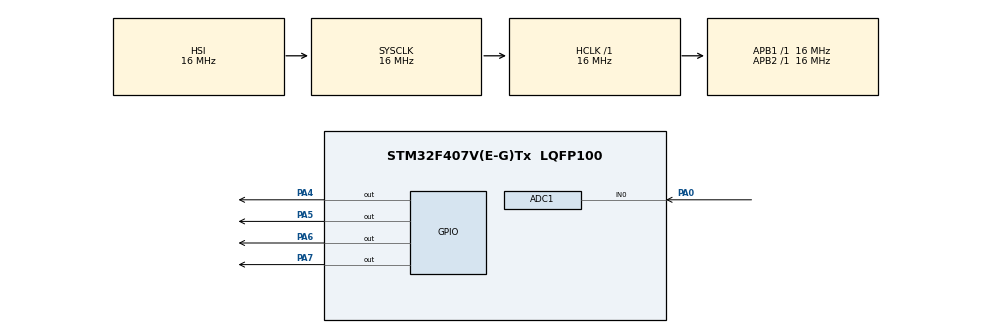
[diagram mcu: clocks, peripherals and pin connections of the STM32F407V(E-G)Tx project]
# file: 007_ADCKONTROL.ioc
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ADC1.Channel-0\#ChannelRegularConversion=ADC_CHANNEL_0
ADC1.ClockPrescaler=ADC_CLOCK_SYNC_PCLK_DIV4
ADC1.NbrOfConversionFlag=1
ADC1.Rank-0\#ChannelRegularConversion=1
ADC1.Resolution=ADC_RESOLUTION_8B
ADC1.SamplingTime-0\#ChannelRegularConversion=ADC_SAMPLETIME_3CYCLES
ADC1.master=1
Mcu.Family=STM32F4
Mcu.Name=STM32F407V(E-G)Tx
Mcu.Package=LQFP100
NVIC.PriorityGroup=NVIC_PRIORITYGROUP_4
PA0-WKUP.Signal=ADCx_IN0
PA4.Signal=GPIO_Output
PA5.Signal=GPIO_Output
PA6.Signal=GPIO_Output
PA7.Signal=GPIO_Output
PH0-OSC_IN.Mode=HSE-External-Oscillator
PH0-OSC_IN.Signal=RCC_OSC_IN
PH1-OSC_OUT.Mode=HSE-External-Oscillator
PH1-OSC_OUT.Signal=RCC_OSC_OUT
ProjectManager.HeapSize=0x200
ProjectManager.StackSize=0x400
ProjectManager.TargetToolchain=STM32CubeIDE
RCC.AHBFreq_Value=16000000
RCC.APB1Freq_Value=16000000
RCC.APB2Freq_Value=16000000
RCC.CortexFreq_Value=16000000
RCC.HSE_VALUE=25000000
RCC.HSI_VALUE=16000000
RCC.LSE_VALUE=32768
RCC.SYSCLKFreq_VALUE=16000000
RCC.VCOOutputFreq_Value=192000000
SH.ADCx_IN0.0=ADC1_IN0,IN0
board=custom

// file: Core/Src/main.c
/* USER CODE BEGIN Header */
/**
  ******************************************************************************
  * @file           : main.c
  * @brief          : Main program body
  ******************************************************************************
  * @attention
  *
  * <h2><center>&copy; Copyright (c) 2020 STMicroelectronics.
  * All rights reserved.</center></h2>
  *
  * This software component is licensed by ST under BSD 3-Clause license,
  * the "License"; You may not use this file except in compliance with the
  * License. You may obtain a copy of the License at:
  *                        opensource.org/licenses/BSD-3-Clause
  *
  ******************************************************************************
  */
/* USER CODE END Header */
#include "main.h"

/* USER CODE BEGIN Includes */
uint16_t adc_value=0;
/* USER CODE END Includes */

ADC_HandleTypeDef hadc1;

void SystemClock_Config(void);
static void MX_GPIO_Init(void);
static void MX_ADC1_Init(void);

/* USER CODE BEGIN 0 */
uint8_t Read_ADC()
{
	HAL_ADC_Start(&hadc1);

		if(HAL_ADC_PollForConversion(&hadc1, 100000) == HAL_OK)
		{
			adc_value = HAL_ADC_GetValue(&hadc1);
		}
	HAL_ADC_Stop(&hadc1);
	return adc_value;
}
/* USER CODE END 0 */

int main(void)
{

  /* MCU Configuration--------------------------------------------------------*/

  /* Reset of all peripherals, Initializes the Flash interface and the Systick. */
  HAL_Init();

  /* Configure the system clock */
  SystemClock_Config();

  /* Initialize all configured peripherals */
  MX_GPIO_Init();
  MX_ADC1_Init();

  /* Infinite loop */
  while (1)
  {

    /* USER CODE BEGIN 3 */
	  adc_value = Read_ADC();

	  if(adc_value<50){
		  HAL_GPIO_WritePin(GPIOA, GPIO_PIN_4, GPIO_PIN_SET);
		  HAL_GPIO_WritePin(GPIOA, GPIO_PIN_5, GPIO_PIN_RESET);
		  HAL_GPIO_WritePin(GPIOA, GPIO_PIN_6, GPIO_PIN_RESET);
		  HAL_GPIO_WritePin(GPIOA, GPIO_PIN_7, GPIO_PIN_RESET);
	  }
	  else if(adc_value>= 50 && adc_value<100)
	  {
		  HAL_GPIO_WritePin(GPIOA, GPIO_PIN_5, GPIO_PIN_SET);
		  HAL_GPIO_WritePin(GPIOA, GPIO_PIN_4, GPIO_PIN_RESET);
		  HAL_GPIO_WritePin(GPIOA, GPIO_PIN_6, GPIO_PIN_RESET);
		  HAL_GPIO_WritePin(GPIOA, GPIO_PIN_7, GPIO_PIN_RESET);
	  }
	  else if(adc_value>= 50 && adc_value<150)
	  {
		  HAL_GPIO_WritePin(GPIOA, GPIO_PIN_6, GPIO_PIN_SET);
		  HAL_GPIO_WritePin(GPIOA, GPIO_PIN_4, GPIO_PIN_RESET);
		  HAL_GPIO_WritePin(GPIOA, GPIO_PIN_5, GPIO_PIN_RESET);
		  HAL_GPIO_WritePin(GPIOA, GPIO_PIN_7, GPIO_PIN_RESET);
	  }
	  else if(adc_value>= 150 && adc_value<255)
	  {
		  HAL_GPIO_WritePin(GPIOA, GPIO_PIN_7, GPIO_PIN_SET);
		  HAL_GPIO_WritePin(GPIOA, GPIO_PIN_4, GPIO_PIN_RESET);
		  HAL_GPIO_WritePin(GPIOA, GPIO_PIN_6, GPIO_PIN_RESET);
		  HAL_GPIO_WritePin(GPIOA, GPIO_PIN_5, GPIO_PIN_RESET);
	  }
	  else
	  {
		  HAL_GPIO_WritePin(GPIOA, GPIO_PIN_5, GPIO_PIN_RESET);
		  HAL_GPIO_WritePin(GPIOA, GPIO_PIN_4, GPIO_PIN_RESET);
		  HAL_GPIO_WritePin(GPIOA, GPIO_PIN_6, GPIO_PIN_RESET);
		  HAL_GPIO_WritePin(GPIOA, GPIO_PIN_7, GPIO_PIN_RESET);
	  }
  }
  /* USER CODE END 3 */
}

void SystemClock_Config(void)
{
  RCC_OscInitTypeDef RCC_OscInitStruct = {0};
  RCC_ClkInitTypeDef RCC_ClkInitStruct = {0};

  /** Configure the main internal regulator output voltage
  */
  __HAL_RCC_PWR_CLK_ENABLE();
  __HAL_PWR_VOLTAGESCALING_CONFIG(PWR_REGULATOR_VOLTAGE_SCALE1);
  /** Initializes the RCC Oscillators according to the specified parameters
  * in the RCC_OscInitTypeDef structure.
  */
  RCC_OscInitStruct.OscillatorType = RCC_OSCILLATORTYPE_HSI;
  RCC_OscInitStruct.HSIState = RCC_HSI_ON;
  RCC_OscInitStruct.HSICalibrationValue = RCC_HSICALIBRATION_DEFAULT;
  RCC_OscInitStruct.PLL.PLLState = RCC_PLL_NONE;
  if (HAL_RCC_OscConfig(&RCC_OscInitStruct) != HAL_OK)
  {
    Error_Handler();
  }
  /** Initializes the CPU, AHB and APB buses clocks
  */
  RCC_ClkInitStruct.ClockType = RCC_CLOCKTYPE_HCLK|RCC_CLOCKTYPE_SYSCLK
                              |RCC_CLOCKTYPE_PCLK1|RCC_CLOCKTYPE_PCLK2;
  RCC_ClkInitStruct.SYSCLKSource = RCC_SYSCLKSOURCE_HSI;
  RCC_ClkInitStruct.AHBCLKDivider = RCC_SYSCLK_DIV1;
  RCC_ClkInitStruct.APB1CLKDivider = RCC_HCLK_DIV1;
  RCC_ClkInitStruct.APB2CLKDivider = RCC_HCLK_DIV1;

  if (HAL_RCC_ClockConfig(&RCC_ClkInitStruct, FLASH_LATENCY_0) != HAL_OK)
  {
    Error_Handler();
  }
}

static void MX_ADC1_Init(void)
{

  ADC_ChannelConfTypeDef sConfig = {0};

  /** Configure the global features of the ADC (Clock, Resolution, Data Alignment and number of conversion)
  */
  hadc1.Instance = ADC1;
  hadc1.Init.ClockPrescaler = ADC_CLOCK_SYNC_PCLK_DIV4;
  hadc1.Init.Resolution = ADC_RESOLUTION_8B;
  hadc1.Init.ScanConvMode = DISABLE;
  hadc1.Init.ContinuousConvMode = DISABLE;
  hadc1.Init.DiscontinuousConvMode = DISABLE;
  hadc1.Init.ExternalTrigConvEdge = ADC_EXTERNALTRIGCONVEDGE_NONE;
  hadc1.Init.ExternalTrigConv = ADC_SOFTWARE_START;
  hadc1.Init.DataAlign = ADC_DATAALIGN_RIGHT;
  hadc1.Init.NbrOfConversion = 1;
  hadc1.Init.DMAContinuousRequests = DISABLE;
  hadc1.Init.EOCSelection = ADC_EOC_SINGLE_CONV;
  if (HAL_ADC_Init(&hadc1) != HAL_OK)
  {
    Error_Handler();
  }
  /** Configure for the selected ADC regular channel its corresponding rank in the sequencer and its sample time.
  */
  sConfig.Channel = ADC_CHANNEL_0;
  sConfig.Rank = 1;
  sConfig.SamplingTime = ADC_SAMPLETIME_3CYCLES;
  if (HAL_ADC_ConfigChannel(&hadc1, &sConfig) != HAL_OK)
  {
    Error_Handler();
  }

}

static void MX_GPIO_Init(void)
{
  GPIO_InitTypeDef GPIO_InitStruct = {0};

  /* GPIO Ports Clock Enable */
  __HAL_RCC_GPIOH_CLK_ENABLE();
  __HAL_RCC_GPIOA_CLK_ENABLE();

  /*Configure GPIO pin Output Level */
  HAL_GPIO_WritePin(GPIOA, GPIO_PIN_4|GPIO_PIN_5|GPIO_PIN_6|GPIO_PIN_7, GPIO_PIN_RESET);

  /*Configure GPIO pins : PA4 PA5 PA6 PA7 */
  GPIO_InitStruct.Pin = GPIO_PIN_4|GPIO_PIN_5|GPIO_PIN_6|GPIO_PIN_7;
  GPIO_InitStruct.Mode = GPIO_MODE_OUTPUT_PP;
  GPIO_InitStruct.Pull = GPIO_NOPULL;
  GPIO_InitStruct.Speed = GPIO_SPEED_FREQ_LOW;
  HAL_GPIO_Init(GPIOA, &GPIO_InitStruct);

}

void Error_Handler(void)
{
}

/************************ (C) COPYRIGHT STMicroelectronics *****END OF FILE****/
